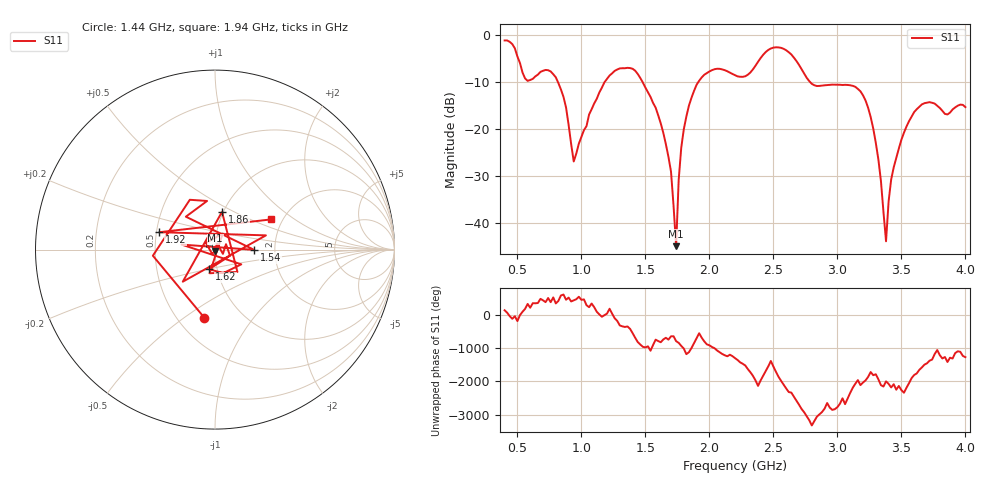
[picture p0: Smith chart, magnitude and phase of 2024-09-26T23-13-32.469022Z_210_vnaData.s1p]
!Created with skrf (http://scikit-rf.org).
# Hz S RI R 50.0
!freq ReS11 ImS11
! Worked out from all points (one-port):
!   181 points, 400 MHz to 4 GHz, reference 50 ohm
!   lowest |S11| = -45.0 dB at 1.74 GHz (marker M1), VSWR 1.01, Z = 50.1 - j0.542 ohm
!   |S11| at or under -10 dB: 815.7 MHz to 1.183 GHz (366.8 MHz wide, 36.7 % of centre); 1.477 GHz to 1.914 GHz (437.4 MHz wide, 25.8 % of centre); 2.785 GHz to end of sweep
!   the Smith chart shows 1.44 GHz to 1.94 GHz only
!   S11 on the Smith chart (normalised r, x): 1.44 GHz: 0.67, -0.60; 1.54 GHz: 1.56, -0.00; 1.62 GHz: 0.92, -0.20; 1.86 GHz: 0.99, +0.43; 1.92 GHz: 0.52, +0.11; 1.94 GHz: 1.74, +0.67
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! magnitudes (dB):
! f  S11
! 400 MHz  -1.2
! 560 MHz  -9.3
! 740 MHz  -7.5
! 860 MHz  -13.2
! 940 MHz  -27.0
! 1.14 GHz  -12.3
! 1.3 GHz  -7.1
! 1.44 GHz  -8.3
! 1.54 GHz  -13.2
! 1.62 GHz  -18.9
! 1.7 GHz  -29.1
! 1.74 GHz  -45.0
! 1.76 GHz  -30.9
! 1.8 GHz  -20.1
! 1.86 GHz  -13.4
! 1.92 GHz  -9.8
! 1.94 GHz  -9.1
! 2.2 GHz  -8.6
! 2.5 GHz  -2.7
! 2.66 GHz  -4.8
! 2.82 GHz  -10.7
! 3.1 GHz  -10.7
! 3.26 GHz  -17.5
! 3.32 GHz  -26.5
! 3.38 GHz  -44.0
! 3.42 GHz  -30.8
! 3.56 GHz  -18.4
! 4 GHz  -15.4
